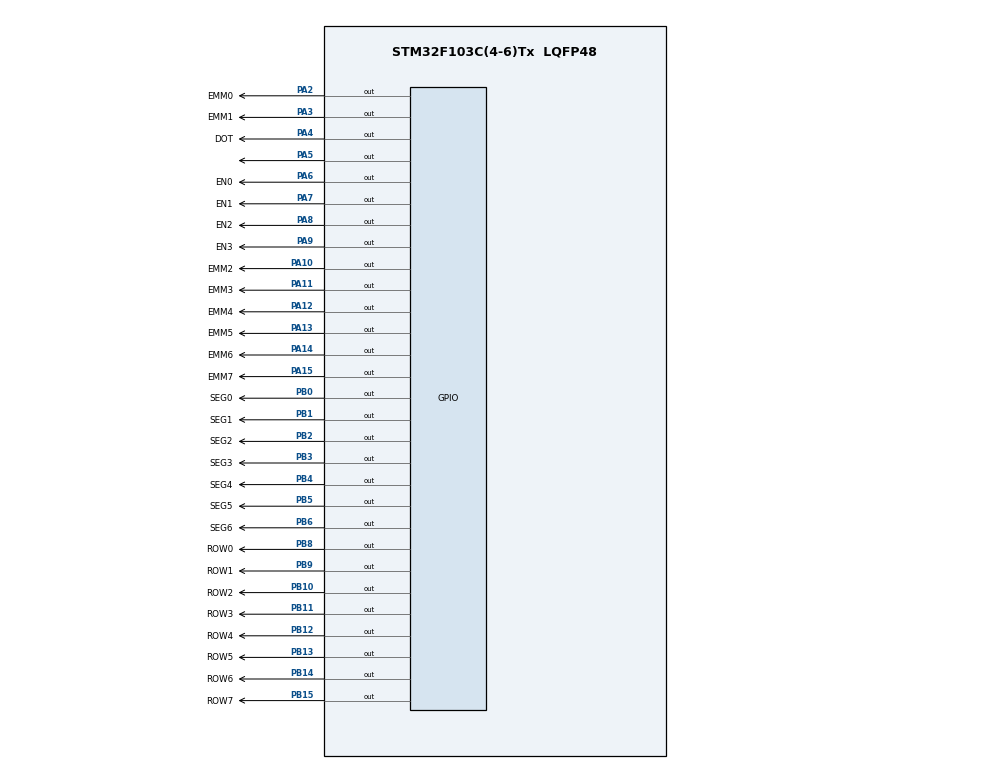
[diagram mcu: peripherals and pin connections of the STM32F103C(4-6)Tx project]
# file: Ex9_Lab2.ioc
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Mcu.Family=STM32F1
Mcu.Name=STM32F103C(4-6)Tx
Mcu.Package=LQFP48
NVIC.PriorityGroup=NVIC_PRIORITYGROUP_4
NVIC.TIM2_IRQn=true\:0\:0\:false\:false\:true\:true\:true
PA10.GPIO_Label=EMM2
PA10.Signal=GPIO_Output
PA11.GPIO_Label=EMM3
PA11.Signal=GPIO_Output
PA12.GPIO_Label=EMM4
PA12.Signal=GPIO_Output
PA13.GPIO_Label=EMM5
PA13.Signal=GPIO_Output
PA14.GPIO_Label=EMM6
PA14.Signal=GPIO_Output
PA15.GPIO_Label=EMM7
PA15.Signal=GPIO_Output
PA2.GPIO_Label=EMM0
PA2.Signal=GPIO_Output
PA3.GPIO_Label=EMM1
PA3.Signal=GPIO_Output
PA4.GPIO_Label=DOT
PA4.Signal=GPIO_Output
PA5.Signal=GPIO_Output
PA6.GPIO_Label=EN0
PA6.Signal=GPIO_Output
PA7.GPIO_Label=EN1
PA7.Signal=GPIO_Output
PA8.GPIO_Label=EN2
PA8.Signal=GPIO_Output
PA9.GPIO_Label=EN3
PA9.Signal=GPIO_Output
PB0.GPIO_Label=SEG0
PB0.Signal=GPIO_Output
PB1.GPIO_Label=SEG1
PB1.Signal=GPIO_Output
PB10.GPIO_Label=ROW2
PB10.Signal=GPIO_Output
PB11.GPIO_Label=ROW3
PB11.Signal=GPIO_Output
PB12.GPIO_Label=ROW4
PB12.Signal=GPIO_Output
PB13.GPIO_Label=ROW5
PB13.Signal=GPIO_Output
PB14.GPIO_Label=ROW6
PB14.Signal=GPIO_Output
PB15.GPIO_Label=ROW7
PB15.Signal=GPIO_Output
PB2.GPIO_Label=SEG2
PB2.Signal=GPIO_Output
PB3.GPIO_Label=SEG3
PB3.Signal=GPIO_Output
PB4.GPIO_Label=SEG4
PB4.Signal=GPIO_Output
PB5.GPIO_Label=SEG5
PB5.Signal=GPIO_Output
PB6.GPIO_Label=SEG6
PB6.Signal=GPIO_Output
PB8.GPIO_Label=ROW0
PB8.Signal=GPIO_Output
PB9.GPIO_Label=ROW1
PB9.Signal=GPIO_Output
ProjectManager.HeapSize=0x200
ProjectManager.StackSize=0x400
ProjectManager.TargetToolchain=STM32CubeIDE
RCC.APB1Freq_Value=8000000
RCC.APB2Freq_Value=8000000
TIM2.Period=9
TIM2.Prescaler=799
VP_SYS_VS_ND.Mode=No_Debug
VP_TIM2_VS_ClockSourceINT.Mode=Internal
board=custom

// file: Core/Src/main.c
/* USER CODE BEGIN Header */
/**
  ******************************************************************************
  * @file           : main.c
  * @brief          : Main program body
  ******************************************************************************
  * @attention
  *
  * <h2><center>&copy; Copyright (c) 2023 STMicroelectronics.
  * All rights reserved.</center></h2>
  *
  * This software component is licensed by ST under BSD 3-Clause license,
  * the "License"; You may not use this file except in compliance with the
  * License. You may obtain a copy of the License at:
  *                        opensource.org/licenses/BSD-3-Clause
  *
  ******************************************************************************
  */
/* USER CODE END Header */
#include "main.h"
#include "software_timer.h"

TIM_HandleTypeDef htim2;

void SystemClock_Config(void);
static void MX_GPIO_Init(void);
static void MX_TIM2_Init(void);

int main(void)
{

  /* MCU Configuration--------------------------------------------------------*/

  /* Reset of all peripherals, Initializes the Flash interface and the Systick. */
  HAL_Init();

  /* Configure the system clock */
  SystemClock_Config();

  /* Initialize all configured peripherals */
  MX_GPIO_Init();
  MX_TIM2_Init();
  /* USER CODE BEGIN 2 */
  HAL_TIM_Base_Start_IT(&htim2);
  const int MAX_LED_MATRIX = 8;
  int index_led_matrix = 0;
  uint8_t matrix_buffer[8] = {0xE7, 0xC3, 0x99, 0x99, 0x81, 0x81, 0x99, 0x99};
/*
 1 1 1 0 0 1 1 1 -> 0xE7
 1 1 0 0 0 0 1 1 -> 0xC3
 1 0 0 1 1 0 0 1 -> 0x99
 1 0 0 1 1 0 0 1 -> 0x99
 1 0 0 0 0 0 0 1 -> 0x81
 1 0 0 0 0 0 0 1 -> 0X81
 1 0 0 1 1 0 0 1 -> 0x99
 1 0 0 1 1 0 0 1 -> 0x99
 */
  void clearMatrix(){
	  HAL_GPIO_WritePin(ROW0_GPIO_Port, ROW0_Pin, SET);
	  HAL_GPIO_WritePin(ROW1_GPIO_Port, ROW1_Pin, SET);
	  HAL_GPIO_WritePin(ROW2_GPIO_Port, ROW2_Pin, SET);
	  HAL_GPIO_WritePin(ROW3_GPIO_Port, ROW3_Pin, SET);
	  HAL_GPIO_WritePin(ROW4_GPIO_Port, ROW4_Pin, SET);
	  HAL_GPIO_WritePin(ROW5_GPIO_Port, ROW5_Pin, SET);
	  HAL_GPIO_WritePin(ROW6_GPIO_Port, ROW6_Pin, SET);
	  HAL_GPIO_WritePin(ROW7_GPIO_Port, ROW7_Pin, SET);
  }
  void setCol(uint8_t value){
	  HAL_GPIO_WritePin(EMM0_GPIO_Port, EMM0_Pin, (value >> 7) & 1);
	  HAL_GPIO_WritePin(EMM1_GPIO_Port, EMM1_Pin, (value >> 6) & 1);
	  HAL_GPIO_WritePin(EMM2_GPIO_Port, EMM2_Pin, (value >> 5) & 1);
	  HAL_GPIO_WritePin(EMM3_GPIO_Port, EMM3_Pin, (value >> 4) & 1);
	  HAL_GPIO_WritePin(EMM4_GPIO_Port, EMM4_Pin, (value >> 3) & 1);
	  HAL_GPIO_WritePin(EMM5_GPIO_Port, EMM5_Pin, (value >> 2) & 1);
	  HAL_GPIO_WritePin(EMM6_GPIO_Port, EMM6_Pin, (value >> 1) & 1);
	  HAL_GPIO_WritePin(EMM7_GPIO_Port, EMM7_Pin, (value >> 0) & 1);
  }
  void updateLEDMatrix (int index){
	  clearMatrix();
	  switch (index){
		case 0:
			setCol(matrix_buffer[0]);
			HAL_GPIO_WritePin(ROW0_GPIO_Port, ROW0_Pin, RESET);
			break ;
		case 1:
			setCol(matrix_buffer[1]);
			HAL_GPIO_WritePin(ROW1_GPIO_Port, ROW1_Pin, RESET);
			break;
		case 2:
			setCol(matrix_buffer[2]);
			HAL_GPIO_WritePin(ROW2_GPIO_Port, ROW2_Pin, RESET);
			break ;
		case 3:
			setCol(matrix_buffer[3]);
			HAL_GPIO_WritePin(ROW3_GPIO_Port, ROW3_Pin, RESET);
			break ;
		case 4:
			setCol(matrix_buffer[4]);
			HAL_GPIO_WritePin(ROW4_GPIO_Port, ROW4_Pin, RESET);
			break ;
		case 5:
			setCol(matrix_buffer[5]);
			HAL_GPIO_WritePin(ROW5_GPIO_Port, ROW5_Pin, RESET);
			break ;
		case 6:
			setCol(matrix_buffer[6]);
			HAL_GPIO_WritePin(ROW6_GPIO_Port, ROW6_Pin, RESET);
			break ;
		case 7:
			setCol(matrix_buffer[7]);
			HAL_GPIO_WritePin(ROW7_GPIO_Port, ROW7_Pin, RESET);
			break ;
		default :
			break ;
	}
}
  /* USER CODE END 2 */

  /* Infinite loop */
  /* USER CODE BEGIN WHILE */
  setTimer(1);
  while (1)
  {
    /* USER CODE END WHILE */

    /* USER CODE BEGIN 3 */
	  if(timer_flag == 1){
	  updateLEDMatrix(index_led_matrix);
	  index_led_matrix++;
	  if(index_led_matrix >= MAX_LED_MATRIX){
		  index_led_matrix = 0;
	  }
	  setTimer(5);
  }
  }
  /* USER CODE END 3 */
}

void SystemClock_Config(void)
{
  RCC_OscInitTypeDef RCC_OscInitStruct = {0};
  RCC_ClkInitTypeDef RCC_ClkInitStruct = {0};

  /** Initializes the RCC Oscillators according to the specified parameters
  * in the RCC_OscInitTypeDef structure.
  */
  RCC_OscInitStruct.OscillatorType = RCC_OSCILLATORTYPE_HSI;
  RCC_OscInitStruct.HSIState = RCC_HSI_ON;
  RCC_OscInitStruct.HSICalibrationValue = RCC_HSICALIBRATION_DEFAULT;
  RCC_OscInitStruct.PLL.PLLState = RCC_PLL_NONE;
  if (HAL_RCC_OscConfig(&RCC_OscInitStruct) != HAL_OK)
  {
    Error_Handler();
  }
  /** Initializes the CPU, AHB and APB buses clocks
  */
  RCC_ClkInitStruct.ClockType = RCC_CLOCKTYPE_HCLK|RCC_CLOCKTYPE_SYSCLK
                              |RCC_CLOCKTYPE_PCLK1|RCC_CLOCKTYPE_PCLK2;
  RCC_ClkInitStruct.SYSCLKSource = RCC_SYSCLKSOURCE_HSI;
  RCC_ClkInitStruct.AHBCLKDivider = RCC_SYSCLK_DIV1;
  RCC_ClkInitStruct.APB1CLKDivider = RCC_HCLK_DIV1;
  RCC_ClkInitStruct.APB2CLKDivider = RCC_HCLK_DIV1;

  if (HAL_RCC_ClockConfig(&RCC_ClkInitStruct, FLASH_LATENCY_0) != HAL_OK)
  {
    Error_Handler();
  }
}

static void MX_TIM2_Init(void)
{

  TIM_ClockConfigTypeDef sClockSourceConfig = {0};
  TIM_MasterConfigTypeDef sMasterConfig = {0};

  htim2.Instance = TIM2;
  htim2.Init.Prescaler = 799;
  htim2.Init.CounterMode = TIM_COUNTERMODE_UP;
  htim2.Init.Period = 9;
  htim2.Init.ClockDivision = TIM_CLOCKDIVISION_DIV1;
  htim2.Init.AutoReloadPreload = TIM_AUTORELOAD_PRELOAD_DISABLE;
  if (HAL_TIM_Base_Init(&htim2) != HAL_OK)
  {
    Error_Handler();
  }
  sClockSourceConfig.ClockSource = TIM_CLOCKSOURCE_INTERNAL;
  if (HAL_TIM_ConfigClockSource(&htim2, &sClockSourceConfig) != HAL_OK)
  {
    Error_Handler();
  }
  sMasterConfig.MasterOutputTrigger = TIM_TRGO_RESET;
  sMasterConfig.MasterSlaveMode = TIM_MASTERSLAVEMODE_DISABLE;
  if (HAL_TIMEx_MasterConfigSynchronization(&htim2, &sMasterConfig) != HAL_OK)
  {
    Error_Handler();
  }

}

static void MX_GPIO_Init(void)
{
  GPIO_InitTypeDef GPIO_InitStruct = {0};

  /* GPIO Ports Clock Enable */
  __HAL_RCC_GPIOA_CLK_ENABLE();
  __HAL_RCC_GPIOB_CLK_ENABLE();

  /*Configure GPIO pin Output Level */
  HAL_GPIO_WritePin(GPIOA, EMM0_Pin|EMM1_Pin|DOT_Pin|GPIO_PIN_5
                          |EN0_Pin|EN1_Pin|EN2_Pin|EN3_Pin
                          |EMM2_Pin|EMM3_Pin|EMM4_Pin|EMM5_Pin
                          |EMM6_Pin|EMM7_Pin, GPIO_PIN_RESET);

  /*Configure GPIO pin Output Level */
  HAL_GPIO_WritePin(GPIOB, SEG0_Pin|SEG1_Pin|SEG2_Pin|ROW2_Pin
                          |ROW3_Pin|ROW4_Pin|ROW5_Pin|ROW6_Pin
                          |ROW7_Pin|SEG3_Pin|SEG4_Pin|SEG5_Pin
                          |SEG6_Pin|ROW0_Pin|ROW1_Pin, GPIO_PIN_RESET);

  /*Configure GPIO pins : EMM0_Pin EMM1_Pin DOT_Pin PA5
                           EN0_Pin EN1_Pin EN2_Pin EN3_Pin
                           EMM2_Pin EMM3_Pin EMM4_Pin EMM5_Pin
                           EMM6_Pin EMM7_Pin */
  GPIO_InitStruct.Pin = EMM0_Pin|EMM1_Pin|DOT_Pin|GPIO_PIN_5
                          |EN0_Pin|EN1_Pin|EN2_Pin|EN3_Pin
                          |EMM2_Pin|EMM3_Pin|EMM4_Pin|EMM5_Pin
                          |EMM6_Pin|EMM7_Pin;
  GPIO_InitStruct.Mode = GPIO_MODE_OUTPUT_PP;
  GPIO_InitStruct.Pull = GPIO_NOPULL;
  GPIO_InitStruct.Speed = GPIO_SPEED_FREQ_LOW;
  HAL_GPIO_Init(GPIOA, &GPIO_InitStruct);

  /*Configure GPIO pins : SEG0_Pin SEG1_Pin SEG2_Pin ROW2_Pin
                           ROW3_Pin ROW4_Pin ROW5_Pin ROW6_Pin
                           ROW7_Pin SEG3_Pin SEG4_Pin SEG5_Pin
                           SEG6_Pin ROW0_Pin ROW1_Pin */
  GPIO_InitStruct.Pin = SEG0_Pin|SEG1_Pin|SEG2_Pin|ROW2_Pin
                          |ROW3_Pin|ROW4_Pin|ROW5_Pin|ROW6_Pin
                          |ROW7_Pin|SEG3_Pin|SEG4_Pin|SEG5_Pin
                          |SEG6_Pin|ROW0_Pin|ROW1_Pin;
  GPIO_InitStruct.Mode = GPIO_MODE_OUTPUT_PP;
  GPIO_InitStruct.Pull = GPIO_NOPULL;
  GPIO_InitStruct.Speed = GPIO_SPEED_FREQ_LOW;
  HAL_GPIO_Init(GPIOB, &GPIO_InitStruct);

}

/* USER CODE BEGIN 4 */
void HAL_TIM_PeriodElapsedCallback(TIM_HandleTypeDef *htim){
	timerRun();
}
/* USER CODE END 4 */

void Error_Handler(void)
{
  __disable_irq();
  while (1)
  {
  }
}

/************************ (C) COPYRIGHT STMicroelectronics *****END OF FILE****/
